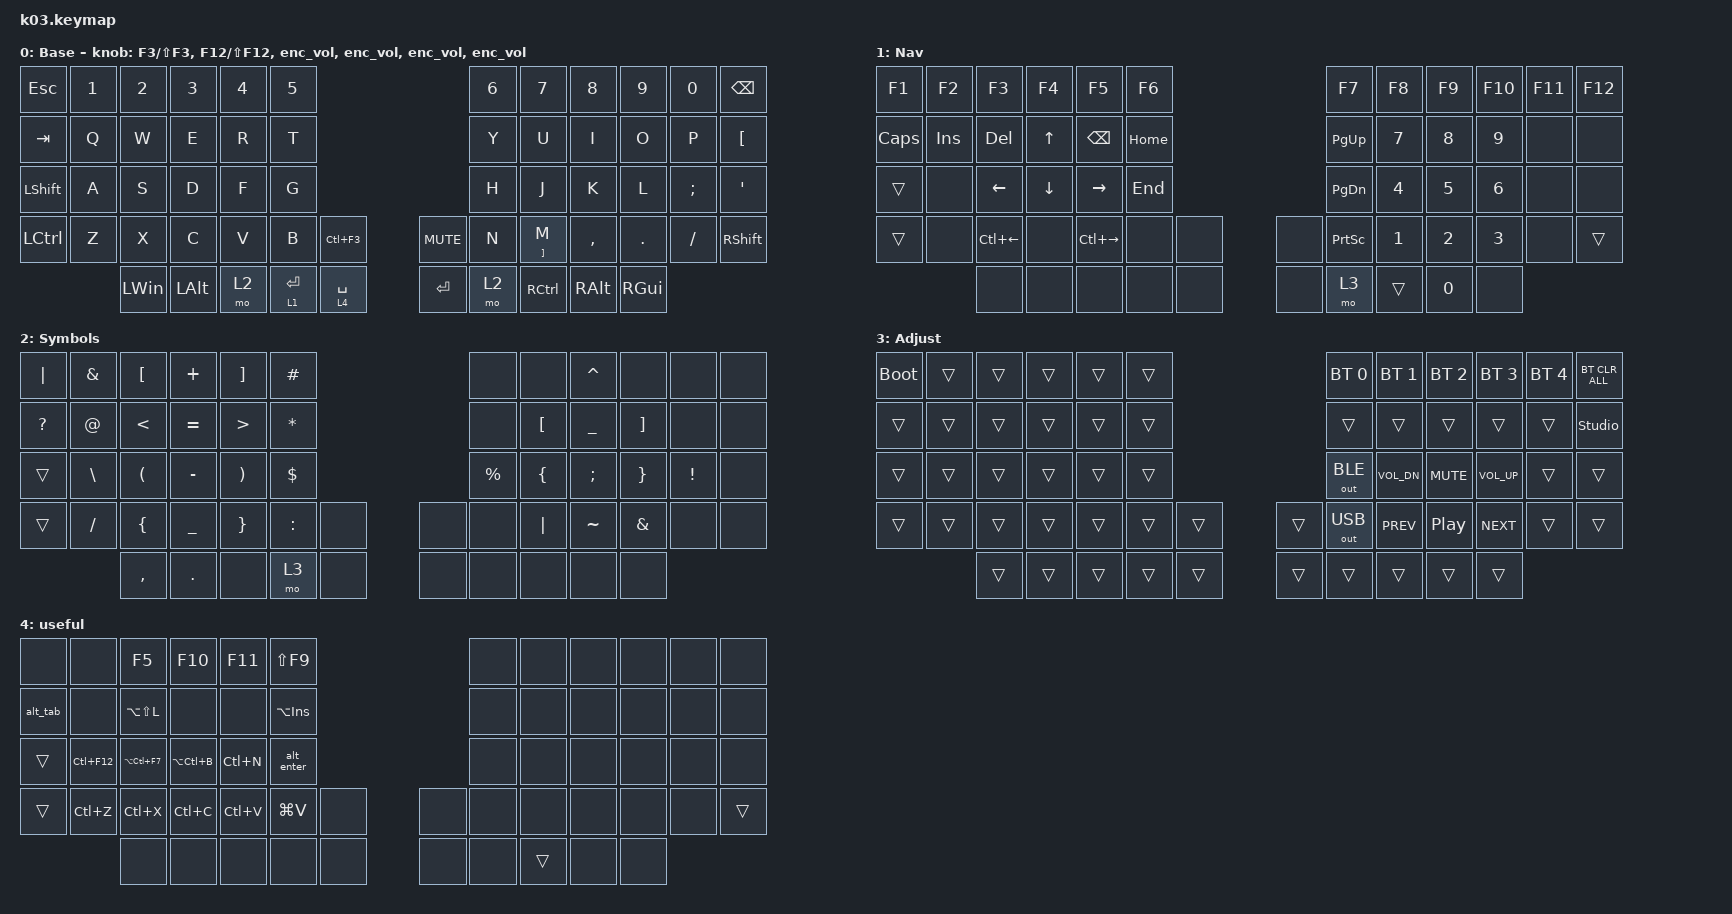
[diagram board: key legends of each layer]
#include "keys_ru.h"
#include <behaviors.dtsi>
#include <dt-bindings/zmk/bt.h>
#include <dt-bindings/zmk/keys.h>
#include <dt-bindings/zmk/outputs.h>

/ {
    behaviors {
        enc_vol: enc_vol {
            compatible = "zmk,behavior-sensor-rotate";
            label = "ENC_VOL";
            #sensor-binding-cells = <0>;
            bindings = <&kp C_VOL_UP>, <&kp C_VOL_DN>;
        };

        behavior_hold_tap: behavior_hold_tap {
            compatible = "zmk,behavior-hold-tap";
            label = "BEHAVIOR_HOLD_TAP";
            bindings = <&kp>, <&kp>;

            #binding-cells = <2>;
            tapping-term-ms = <500>;
            flavor = "tap-preferred";
        };

        lt_retro_tap: lt_retro_tap {
            compatible = "zmk,behavior-hold-tap";
            label = "LT_RETRO_TAP";
            bindings = <&mo>, <&kp>;

            #binding-cells = <2>;
            tapping-term-ms = <100>;
            retro-tap;
            flavor = "tap-preferred";
        };
    };

    macros {
        alt_enter: alt_enter {
            compatible = "zmk,behavior-macro";
            #binding-cells = <0>;
            bindings =
                <&macro_press>,
                <&kp LEFT_ALT>,
                <&macro_tap>,
                <&kp ENTER>,
                <&macro_release>,
                <&kp LEFT_ALT>;

            label = "ALT_ENTER";
        };

        alt_tab: alt_tab {
            compatible = "zmk,behavior-macro";
            #binding-cells = <0>;
            bindings =
                <&macro_press>,
                <&kp LEFT_ALT>,
                <&macro_tap>,
                <&kp TAB>,
                <&macro_release>,
                <&kp LEFT_ALT>;

            label = "ALT_TAB";
        };
    };

    keymap {
        compatible = "zmk,keymap";

        base {
            bindings = <
&kp ESC         &kp N1  &kp N2        &kp N3        &kp N4  &kp N5                                            &kp N6  &kp N7                              &kp N8     &kp N9    &kp N0    &kp BSPC
&kp TAB         &kp Q   &kp W         &kp E         &kp R   &kp T                                             &kp Y   &kp U                               &kp I      &kp O     &kp P     &kp LEFT_BRACKET
&kp LEFT_SHIFT  &kp A   &kp S         &kp D         &kp F   &kp G                                             &kp H   &kp J                               &kp K      &kp L     &kp SEMI  &kp SQT
&kp LCTRL       &kp Z   &kp X         &kp C         &kp V   &kp B        &kp LC(F3)               &kp K_MUTE  &kp N   &behavior_hold_tap RIGHT_BRACKET M  &kp COMMA  &kp DOT   &kp FSLH  &kp RSHFT
                        &kp LEFT_WIN  &kp LEFT_ALT  &mo 2   &lt 1 ENTER  &lt_retro_tap 4 SPACE    &kp ENTER   &mo 2   &kp RCTRL                           &kp RALT   &kp RGUI
            >;

            display-name = "Base";
            sensor-bindings =
                <&inc_dec_kp F3 LS(F3)>,
                <&inc_dec_kp F12 LS(F12)>,
                <&enc_vol>,
                <&enc_vol>,
                <&enc_vol>,
                <&enc_vol>;
        };

        nav {
            bindings = <
&kp F1    &kp F2   &kp F3        &kp F4    &kp F5         &kp F6                    &kp F7           &kp F8  &kp F9  &kp F10  &kp F11  &kp F12
&kp CAPS  &kp INS  &kp DELETE    &kp UP    &kp BACKSPACE  &kp HOME                  &kp PG_UP        &kp N7  &kp N8  &kp N9   &none    &none
&trans    &none    &kp LEFT      &kp DOWN  &kp RIGHT      &kp END                   &kp PG_DN        &kp N4  &kp N5  &kp N6   &none    &none
&trans    &none    &kp LC(LEFT)  &none     &kp LC(RIGHT)  &none     &none    &none  &kp PRINTSCREEN  &kp N1  &kp N2  &kp N3   &none    &trans
                   &none         &none     &none          &none     &none    &none  &mo 3            &trans  &kp N0  &none
            >;

            display-name = "Nav";
        };

        sym {
            bindings = <
&kp PIPE   &kp AMPERSAND  &kp LEFT_BRACKET  &kp PLUS   &kp RIGHT_BRACKET  &kp HASH                    &none      &none     &kp CARET  &none     &none     &none
&kp QMARK  &kp AT_SIGN    &kp LT            &kp EQUAL  &kp GT             &kp ASTRK                   &none      &kp LBKT  &kp UNDER  &kp RBKT  &none     &none
&trans     &kp BSLH       &kp LPAR          &kp MINUS  &kp RPAR           &kp DOLLAR                  &kp PRCNT  &kp LBRC  &kp SEMI   &kp RBRC  &kp EXCL  &none
&trans     &kp FSLH       &kp LEFT_BRACE    &kp UNDER  &kp RIGHT_BRACE    &kp COLON   &none    &none  &none      &kp PIPE  &kp TILDE  &kp AMPS  &none     &none
                          &kp COMMA         &kp DOT    &none              &mo 3       &none    &none  &none      &none     &none      &none
            >;

            display-name = "Symbols";
        };

        adj {
            bindings = <
&bootloader  &trans  &trans  &trans  &trans  &trans                    &bt BT_SEL 0  &bt BT_SEL 1  &bt BT_SEL 2      &bt BT_SEL 3  &bt BT_SEL 4  &bt BT_CLR_ALL
&trans       &trans  &trans  &trans  &trans  &trans                    &trans        &trans        &trans            &trans        &trans        &studio_unlock
&trans       &trans  &trans  &trans  &trans  &trans                    &out OUT_BLE  &kp C_VOL_DN  &kp C_MUTE        &kp C_VOL_UP  &trans        &trans
&trans       &trans  &trans  &trans  &trans  &trans  &trans    &trans  &out OUT_USB  &kp C_PREV    &kp C_PLAY_PAUSE  &kp C_NEXT    &trans        &trans
                     &trans  &trans  &trans  &trans  &trans    &trans  &trans        &trans        &trans            &trans
            >;

            display-name = "Adjust";
        };

        useful {
            bindings = <
&none     &none        &kp F5          &kp F10        &kp F11    &kp LS(F9)                   &none  &none   &none  &none  &none  &none
&alt_tab  &none        &kp LA(LS(L))   &none          &none      &kp LA(INS)                  &none  &none   &none  &none  &none  &none
&trans    &kp LC(F12)  &kp LA(LC(F7))  &kp LA(LC(B))  &kp LC(N)  &alt_enter                   &none  &none   &none  &none  &none  &none
&trans    &kp LC(Z)    &kp LC(X)       &kp LC(C)      &kp LC(V)  &kp LG(V)    &none    &none  &none  &none   &none  &none  &none  &trans
                       &none           &none          &none      &none        &none    &none  &none  &trans  &none  &none
            >;

            label = "useful";
        };
    };
};
